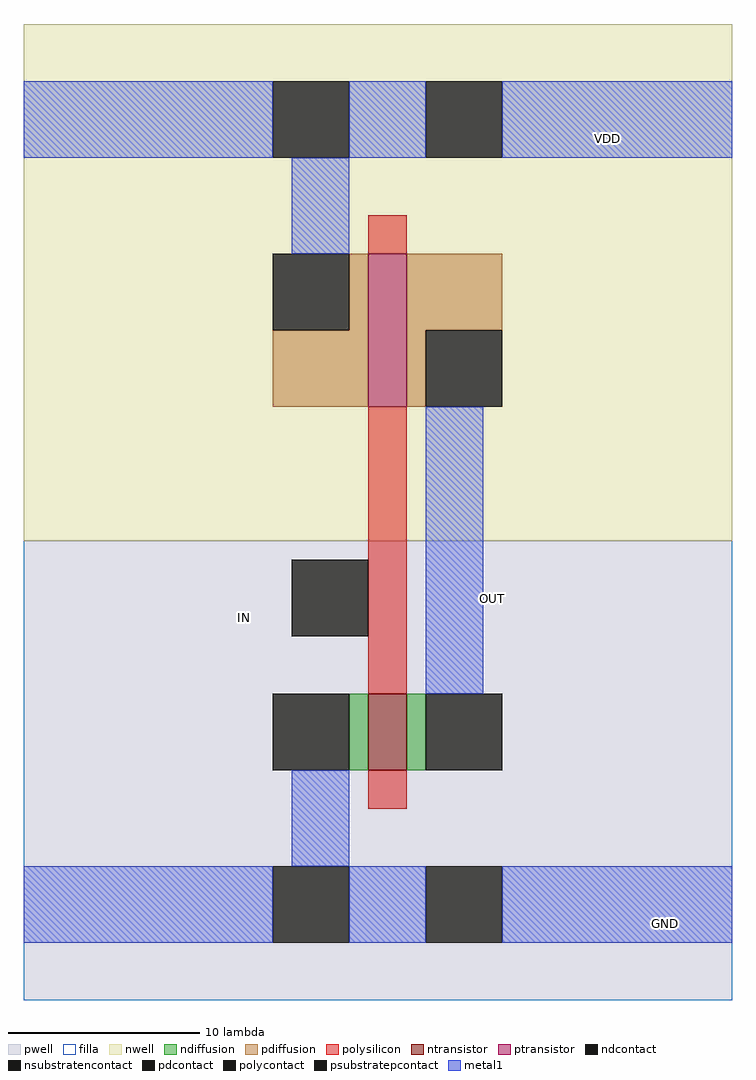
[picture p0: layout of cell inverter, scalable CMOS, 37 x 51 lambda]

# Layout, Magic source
magic
tech scmos
<< nwell >>
rect -13 -7 24 20
<< pwell >>
rect -13 -31 24 -7
<< ntransistor >>
rect 5 -19 7 -15
<< ptransistor >>
rect 5 0 7 8
<< ndiffusion >>
rect 4 -19 5 -15
rect 7 -19 8 -15
<< pdiffusion >>
rect 4 4 5 8
rect 0 0 5 4
rect 7 4 12 8
rect 7 0 8 4
<< ndcontact >>
rect 0 -19 4 -15
rect 8 -19 12 -15
<< pdcontact >>
rect 0 4 4 8
rect 8 0 12 4
<< psubstratepcontact >>
rect 0 -28 4 -24
rect 8 -28 12 -24
<< nsubstratencontact >>
rect 0 13 4 17
rect 8 13 12 17
<< polysilicon >>
rect 5 8 7 10
rect 5 -15 7 0
rect 5 -21 7 -19
<< polycontact >>
rect 1 -12 5 -8
<< metal1 >>
rect -13 13 0 17
rect 4 13 8 17
rect 12 13 24 17
rect 1 8 4 13
rect 8 -15 11 0
rect 1 -24 4 -19
rect -13 -28 0 -24
rect 4 -28 8 -24
rect 12 -28 24 -24
<< filla >>
rect -13 -31 24 20
<< labels >>
rlabel metal1 20 -27 21 -27 8 GND
rlabel metal1 17 14 18 14 1 VDD
rlabel pwell -2 -11 -1 -11 1 IN
rlabel pwell 11 -10 12 -10 1 OUT
<< end >>
